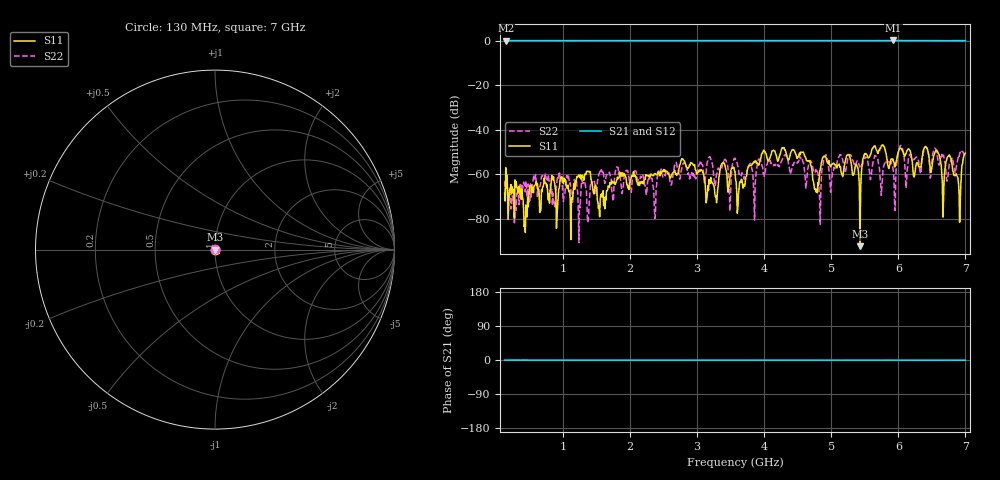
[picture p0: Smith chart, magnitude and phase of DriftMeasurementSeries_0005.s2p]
# Hz S RI R 50.000000
! Metas.Vna.Tools, 2.8.8664.20301
! Metas.Vna.Data, 2.8.8664.20285
! Created: UTC 2024.02.11 10:08:08
! FREQ  re:S1,1  im:S1,1  re:S2,1  im:S2,1  re:S1,2  im:S1,2  re:S2,2  im:S2,2
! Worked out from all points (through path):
!   801 points, 130 MHz to 7 GHz, reference 50 ohm
!   highest |S21| = 0.05 dB at 5.927 GHz (marker M1); lowest = -0.1 dB at 147.2 MHz (marker M2)
!   lowest |S11| = -92.2 dB at 5.428 GHz (marker M3), VSWR 1.00, Z = 50 - j0.00238 ohm
!   |S11| at or under -10 dB: start of sweep to end of sweep
!   |S22| runs from -90.6 to -47.0 dB; largest |S21 - S12| = 0.01
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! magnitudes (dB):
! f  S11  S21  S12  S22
! 130 MHz  -68.5  -0.1  0.0  -63.1
! 147.2 MHz  -56.9  -0.1  0.0  -65.1
! 447.7 MHz  -73.7  0.0  0.0  -63.0
! 1.281 GHz  -60.7  0.0  0.0  -62.5
! 1.547 GHz  -79.0  0.0  0.0  -59.5
! 2.423 GHz  -59.8  0.0  0.0  -58.5
! 3.565 GHz  -58.7  0.0  0.0  -52.7
! 3.848 GHz  -54.7  0.0  0.0  -72.2
! 4.286 GHz  -48.1  0.0  0.0  -51.8
! 4.716 GHz  -58.5  0.0  0.0  -55.9
! 4.819 GHz  -62.4  0.0  0.0  -67.8
! 5.257 GHz  -51.1  0.0  0.0  -52.4
! 5.428 GHz  -92.2  0.0  0.0  -56.6
! 5.635 GHz  -47.4  0.0  0.0  -53.1
! 5.858 GHz  -57.4  0.0  0.0  -54.5
! 5.927 GHz  -54.0  0.1  0.0  -58.7
! 6.03 GHz  -48.2  0.0  0.0  -47.1
! 6.579 GHz  -49.6  -0.1  0.0  -51.4
! 6.665 GHz  -79.2  -0.1  0.0  -51.4
! 6.76 GHz  -51.3  -0.1  0.0  -55.4
! 6.906 GHz  -67.9  0.0  0.0  -52.0
! 7 GHz  -50.5  0.0  0.0  -51.7
